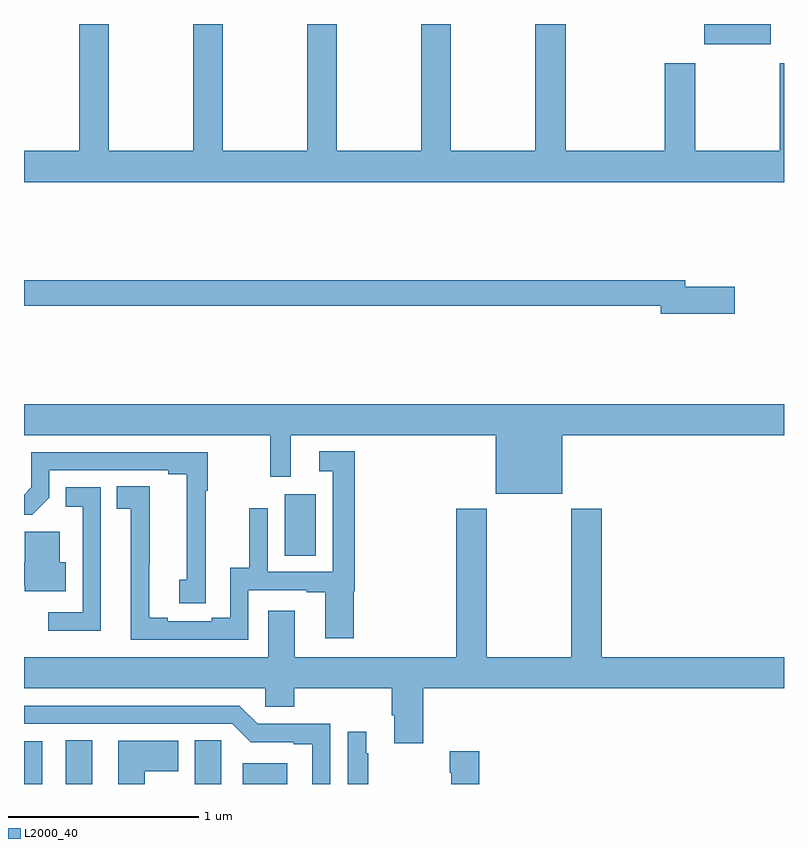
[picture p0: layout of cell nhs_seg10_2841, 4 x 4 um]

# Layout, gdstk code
import gdstk
lib = gdstk.Library(unit=1e-6, precision=1e-09)
def R(c, l, rs):  # rectangles x0, y0, x1, y1
    for r in rs: c.add(gdstk.rectangle(r[:2], r[2:], *l))
def P(c, l, *ps):  # polygons
    for p in ps: c.add(gdstk.Polygon(p, *l))
L2000_40 = (2000, 40)

nhs_seg10_2841 = lib.new_cell('nhs_seg10_2841')
R(nhs_seg10_2841, L2000_40, [(265,1278.5,265.096,1278.726), (265.22,1278.5,265.36,1278.731), (266.15,1278.5,266.386,1278.61), (266.372,1279.702,266.536,1280.026), (268.58,1282.394,268.93,1282.5)])
P(nhs_seg10_2841, L2000_40, [(269,1282.294),(268.978,1282.294),(268.978,1281.832),(268.533,1281.832),(268.533,1282.294),(268.373,1282.294),(268.373,1281.832),(267.851,1281.832),(267.851,1282.5),(267.697,1282.5),(267.697,1282.499),(267.691,1282.499),(267.691,1281.832),(267.246,1281.832),(267.246,1282.499),(267.243,1282.499),(267.243,1282.5),(267.093,1282.5),(267.093,1282.499),(267.091,1282.499),(267.091,1281.832),(266.646,1281.832),(266.646,1282.499),(266.643,1282.499),(266.643,1282.5),(266.493,1282.5),(266.493,1282.499),(266.491,1282.499),(266.491,1281.832),(266.046,1281.832),(266.046,1282.499),(266.043,1282.499),(266.043,1282.5),(265.893,1282.5),(265.893,1282.499),(265.891,1282.499),(265.891,1281.832),(265.446,1281.832),(265.446,1282.499),(265.443,1282.499),(265.443,1282.5),(265.293,1282.5),(265.293,1282.499),(265.291,1282.499),(265.291,1281.832),(265,1281.832),(265,1281.668),(269,1281.668)],
  [(268.741,1281.116),(268.48,1281.116),(268.48,1281.152),(265,1281.152),(265,1281.016),(268.352,1281.016),(268.352,1280.974),(268.741,1280.974)],
  [(267.832,1280.336),(269,1280.336),(269,1280.5),(265,1280.5),(265,1280.336),(266.295,1280.336),(266.295,1280.118),(266.404,1280.118),(266.404,1280.336),(267.482,1280.336),(267.482,1280.027),(267.832,1280.027)],
  [(266.181,1279.521),(266.489,1279.521),(266.489,1279.509),(266.585,1279.509),(266.585,1279.266),(266.735,1279.266),(266.735,1279.514),(266.741,1279.514),(266.741,1280.251),(266.553,1280.251),(266.553,1280.145),(266.625,1280.145),(266.625,1279.617),(266.283,1279.617),(266.283,1279.951),(266.185,1279.951),(266.185,1279.637),(266.085,1279.637),(266.085,1279.376),(265.988,1279.376),(265.988,1279.356),(265.756,1279.356),(265.756,1279.376),(265.66,1279.376),(265.66,1279.657),(265.661,1279.657),(265.661,1280.066),(265.489,1280.066),(265.489,1279.948),(265.562,1279.948),(265.562,1279.26),(266.181,1279.26)],
  [(265.957,1280.044),(265.967,1280.044),(265.967,1280.247),(265.038,1280.247),(265.038,1280.061),(265,1280.023),(265,1279.917),(265.044,1279.917),(265.134,1280.007),(265.134,1280.151),(265.76,1280.151),(265.76,1280.131),(265.856,1280.131),(265.856,1279.576),(265.817,1279.576),(265.817,1279.452),(265.957,1279.452)],
  [(265.405,1279.858),(265.404,1279.858),(265.404,1280.061),(265.219,1280.061),(265.219,1279.96),(265.308,1279.96),(265.308,1279.404),(265.128,1279.404),(265.128,1279.307),(265.405,1279.307)],
  [(267.101,1279.004),(269,1279.004),(269,1279.168),(268.04,1279.168),(268.04,1279.948),(267.88,1279.948),(267.88,1279.168),(267.435,1279.168),(267.435,1279.948),(267.275,1279.948),(267.275,1279.168),(266.425,1279.168),(266.425,1279.411),(266.285,1279.411),(266.285,1279.168),(265,1279.168),(265,1279.004),(266.271,1279.004),(266.271,1278.906),(266.423,1278.906),(266.423,1279.004),(266.936,1279.004),(266.936,1278.862),(266.948,1278.862),(266.948,1278.714),(267.101,1278.714)],
  [(265.219,1279.666),(265.189,1279.666),(265.189,1279.828),(265.004,1279.828),(265.004,1279.666),(265,1279.666),(265,1279.544),(265.004,1279.544),(265.004,1279.514),(265.219,1279.514)],
  [(266.613,1278.816),(266.229,1278.816),(266.133,1278.912),(265,1278.912),(265,1278.816),(266.097,1278.816),(266.193,1278.72),(266.42,1278.72),(266.42,1278.708),(266.516,1278.708),(266.516,1278.5),(266.613,1278.5)],
  [(266.812,1278.662),(266.8,1278.662),(266.8,1278.775),(266.703,1278.775),(266.703,1278.5),(266.812,1278.5)],
  [(266.038,1278.62),(266.037,1278.62),(266.037,1278.731),(265.898,1278.731),(265.898,1278.5),(266.038,1278.5)],
  [(265.636,1278.568),(265.813,1278.568),(265.813,1278.727),(265.496,1278.727),(265.496,1278.5),(265.636,1278.5)],
  [(267.395,1278.673),(267.241,1278.673),(267.241,1278.56),(267.248,1278.56),(267.248,1278.5),(267.395,1278.5)])

lib.write_gds('nhs_seg10_2841.gds')
